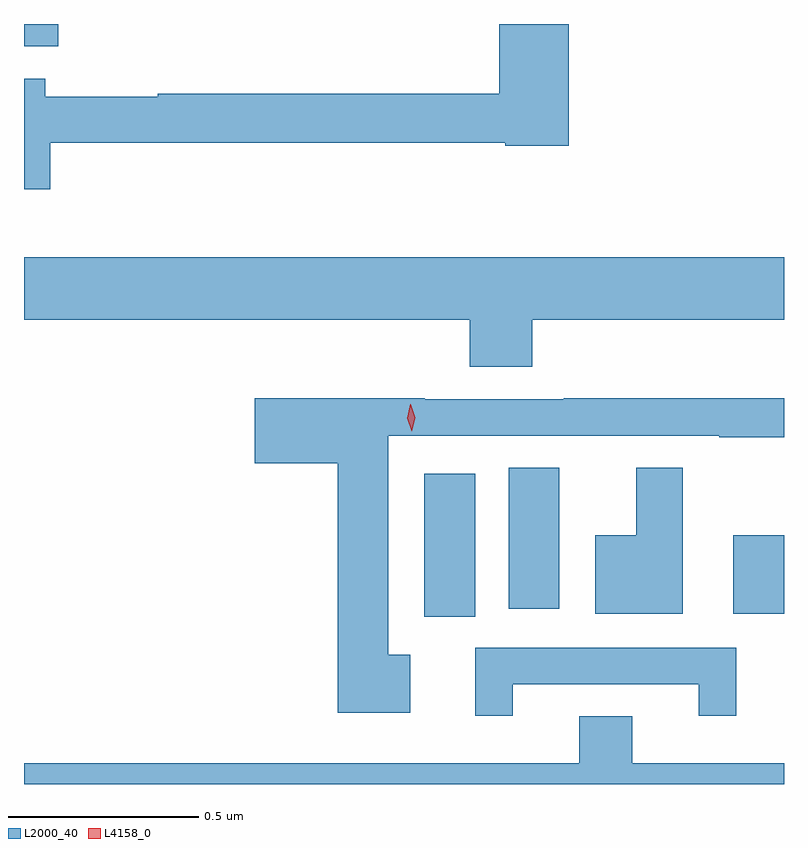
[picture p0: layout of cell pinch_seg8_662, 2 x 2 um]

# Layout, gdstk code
import gdstk
lib = gdstk.Library(unit=1e-6, precision=1e-09)
def R(c, l, rs):  # rectangles x0, y0, x1, y1
    for r in rs: c.add(gdstk.rectangle(r[:2], r[2:], *l))
def P(c, l, *ps):  # polygons
    for p in ps: c.add(gdstk.Polygon(p, *l))
L2000_40 = (2000, 40)
L4158_0 = (4158, 0)

pinch_seg8_662 = lib.new_cell('pinch_seg8_662')
R(pinch_seg8_662, L2000_40, [(278.354,1118.382,278.488,1118.758), (279.167,1118.39,279.301,1118.596), (278.576,1118.403,278.71,1118.774), (277.301,1119.883,277.391,1119.942)])
P(pinch_seg8_662, L2000_40, [(277.37,1119.63),(278.568,1119.63),(278.568,1119.622),(278.735,1119.622),(278.735,1119.942),(278.552,1119.942),(278.552,1119.758),(277.653,1119.758),(277.653,1119.751),(277.357,1119.751),(277.357,1119.798),(277.301,1119.798),(277.301,1119.507),(277.37,1119.507)],
  [(278.639,1119.164),(279.301,1119.164),(279.301,1119.328),(277.301,1119.328),(277.301,1119.164),(278.474,1119.164),(278.474,1119.04),(278.639,1119.04)],
  [(278.317,1118.282),(278.26,1118.282),(278.26,1118.859),(279.13,1118.859),(279.13,1118.854),(279.301,1118.854),(279.301,1118.957),(278.722,1118.957),(278.722,1118.955),(278.356,1118.955),(278.356,1118.957),(277.908,1118.957),(277.908,1118.786),(278.126,1118.786),(278.126,1118.129),(278.317,1118.129)],
  [(279.034,1118.774),(278.912,1118.774),(278.912,1118.596),(278.804,1118.596),(278.804,1118.39),(279.034,1118.39)],
  [(278.587,1118.205),(279.077,1118.205),(279.077,1118.121),(279.175,1118.121),(279.175,1118.301),(278.489,1118.301),(278.489,1118.121),(278.587,1118.121)],
  [(279.301,1117.996),(278.902,1117.996),(278.902,1118.12),(278.762,1118.12),(278.762,1117.996),(277.301,1117.996),(277.301,1117.942),(279.301,1117.942)])
P(pinch_seg8_662, L4158_0, [(278.321,1118.87),(278.321,1118.87),(278.31,1118.905),(278.318,1118.942),(278.318,1118.942),(278.319,1118.942),(278.33,1118.906),(278.321,1118.87)])

lib.write_gds('pinch_seg8_662.gds')
